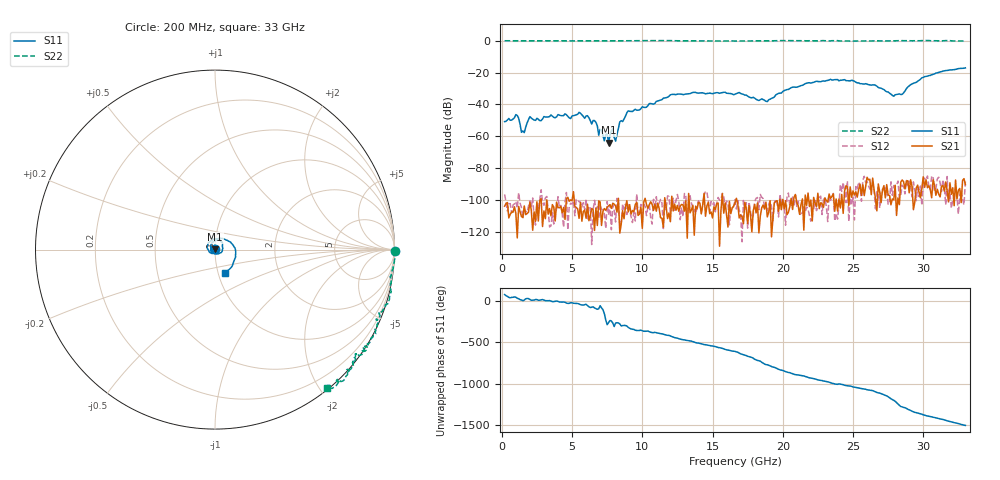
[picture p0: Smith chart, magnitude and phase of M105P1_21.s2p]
# GHZ S RI R 50
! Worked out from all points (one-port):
!   329 points, 200 MHz to 33 GHz, reference 50 ohm
!   lowest |S11| = -64.0 dB at 7.6 GHz (marker M1), VSWR 1.00, Z = 50 + j0.0616 ohm
!   |S11| at or under -10 dB: start of sweep to end of sweep
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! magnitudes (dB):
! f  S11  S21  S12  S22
! 200 MHz  -50.8  -103.9  -96.5  0.0
! 1 GHz  -46.4  -108.4  -100.8  0.0
! 1.6 GHz  -57.7  -103.7  -105.5  0.0
! 2 GHz  -47.7  -101.4  -100.5  0.0
! 5.7 GHz  -46.5  -113.3  -104.5  -0.1
! 6.6 GHz  -50.1  -119.1  -100.2  -0.1
! 6.9 GHz  -59.3  -100.6  -111.6  -0.1
! 7.1 GHz  -56.0  -116.0  -106.0  -0.1
! 7.3 GHz  -62.9  -105.4  -108.8  -0.1
! 7.5 GHz  -58.4  -104.6  -100.9  -0.1
! 7.6 GHz  -64.0  -103.7  -109.5  0.0
! 7.9 GHz  -55.2  -102.0  -103.2  0.0
! 8.1 GHz  -63.0  -103.7  -113.8  0.0
! 8.4 GHz  -50.9  -120.8  -116.6  0.0
! 9 GHz  -44.0  -107.5  -102.0  0.0
! 11.2 GHz  -37.5  -105.2  -101.9  0.1
! 16.6 GHz  -33.5  -102.0  -99.8  -0.2
! 18.9 GHz  -38.2  -110.6  -106.7  0.0
! 22.1 GHz  -26.3  -113.2  -106.2  0.0
! 24.9 GHz  -24.8  -98.3  -102.8  -0.2
! 27.6 GHz  -32.9  -97.1  -100.6  -0.1
! 33 GHz  -17.0  -90.4  -88.3  -0.1
